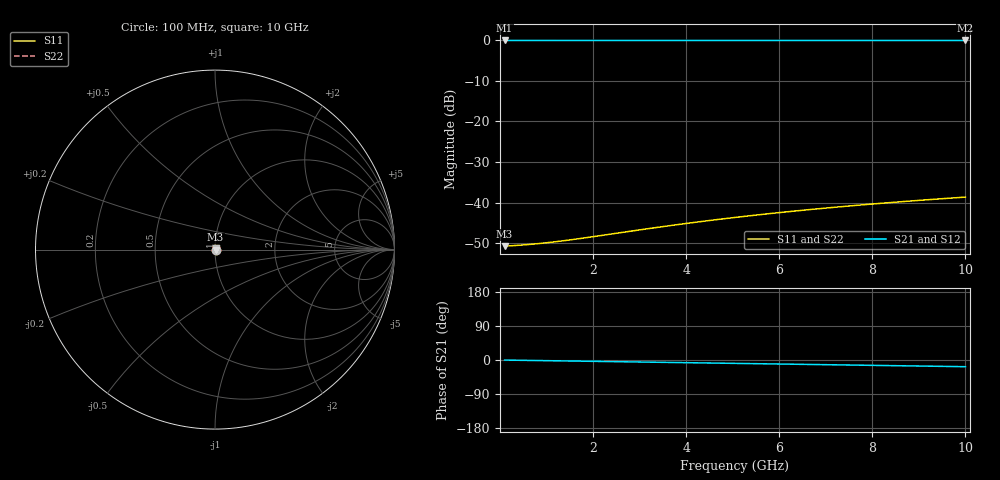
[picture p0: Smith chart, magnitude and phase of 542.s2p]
# Hz S RI R 50.00
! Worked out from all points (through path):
!   100 points, 100 MHz to 10 GHz, reference 50 ohm
!   highest |S21| = -0.03 dB at 100 MHz (marker M1); lowest = 0.0 dB at 10 GHz (marker M2)
!   group delay of S21, straight-line fit = 4.91 ps
!   lowest |S11| = -50.8 dB at 100 MHz (marker M3), VSWR 1.01, Z = 50.3 + j0.0107 ohm
!   |S11| at or under -10 dB: start of sweep to end of sweep
!   |S22| runs from -50.8 to -38.7 dB; largest |S21 - S12| = 0
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1e8  0.00289 0.000107  0.9971 -0.00307  0.9971 -0.00307  0.00289 0.000107
5e8  0.00295 0.000532  0.9969 -0.0153  0.9969 -0.0153  0.00295 0.000532
7e8  0.00297 0.000745  0.9968 -0.0215  0.9968 -0.0215  0.00297 0.000745
9e8  0.00299 0.000957  0.9966 -0.0276  0.9966 -0.0276  0.00299 0.000957
1.1e9  0.00302 0.00117  0.9964 -0.0338  0.9964 -0.0338  0.00302 0.00117
1.3e9  0.00304 0.00138  0.9962 -0.0399  0.9962 -0.0399  0.00304 0.00138
1.5e9  0.00307 0.00159  0.9959 -0.046  0.9959 -0.046  0.00307 0.00159
1.8e9  0.00311 0.00191  0.9954 -0.0552  0.9954 -0.0552  0.00311 0.00191
2.9e9  0.00331 0.00306  0.9929 -0.0889  0.9929 -0.0889  0.00331 0.00306
3.4e9  0.00343 0.00357  0.9914 -0.1042  0.9914 -0.1042  0.00343 0.00357
3.9e9  0.00356 0.00408  0.9896 -0.1194  0.9896 -0.1194  0.00356 0.00408
4.3e9  0.00367 0.00449  0.9881 -0.1316  0.9881 -0.1316  0.00367 0.00449
4.7e9  0.0038 0.00489  0.9864 -0.1438  0.9864 -0.1438  0.0038 0.00489
5.1e9  0.00394 0.00529  0.9845 -0.1559  0.9845 -0.1559  0.00394 0.00529
5.5e9  0.00408 0.00568  0.9825 -0.1681  0.9825 -0.1681  0.00408 0.00568
5.9e9  0.00424 0.00607  0.9803 -0.1802  0.9803 -0.1802  0.00424 0.00607
6.3e9  0.0044 0.00646  0.978 -0.1923  0.978 -0.1923  0.0044 0.00646
6.7e9  0.00458 0.00684  0.9755 -0.2043  0.9755 -0.2043  0.00458 0.00684
7.5e9  0.00495 0.00758  0.9701 -0.2283  0.9701 -0.2283  0.00495 0.00758
8.4e9  0.00542 0.0084  0.9634 -0.2552  0.9634 -0.2552  0.00542 0.0084
9.2e9  0.00588 0.00909  0.9567 -0.2789  0.9567 -0.2789  0.00588 0.00909
1e10  0.00637 0.00977  0.9495 -0.3025  0.9495 -0.3025  0.00637 0.00977
